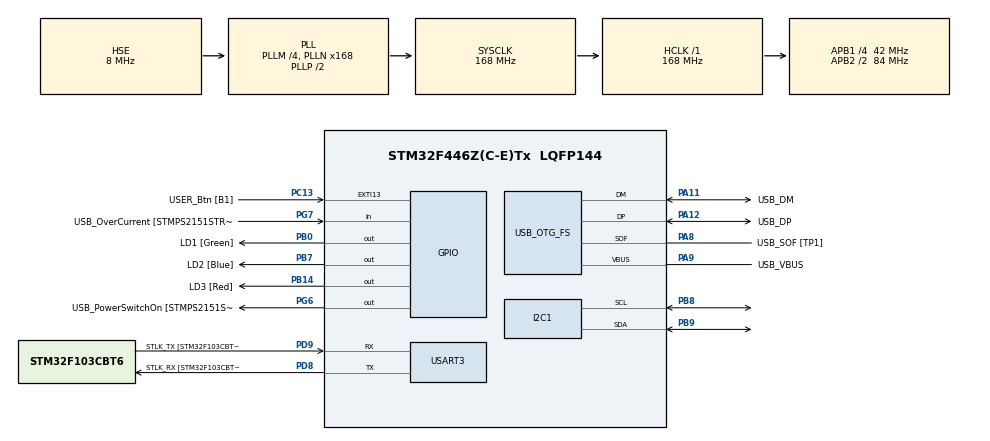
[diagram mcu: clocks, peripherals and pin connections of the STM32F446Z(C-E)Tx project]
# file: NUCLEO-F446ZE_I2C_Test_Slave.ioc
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I2C1.OwnAddress=0x54
Mcu.Family=STM32F4
Mcu.Name=STM32F446Z(C-E)Tx
Mcu.Package=LQFP144
NVIC.I2C1_ER_IRQn=true\:0\:0\:false\:false\:true\:true\:true\:true
NVIC.I2C1_EV_IRQn=true\:0\:0\:false\:false\:true\:true\:true\:true
NVIC.PriorityGroup=NVIC_PRIORITYGROUP_4
PA10.GPIO_Label=USB_ID
PA10.Signal=USB_OTG_FS_ID
PA11.GPIO_Label=USB_DM
PA11.Mode=Device_Only
PA11.Signal=USB_OTG_FS_DM
PA12.GPIO_Label=USB_DP
PA12.Mode=Device_Only
PA12.Signal=USB_OTG_FS_DP
PA13.GPIO_Label=TMS
PA13.Mode=Serial_Wire
PA13.Signal=SYS_JTMS-SWDIO
PA14.GPIO_Label=TCK
PA14.Mode=Serial_Wire
PA14.Signal=SYS_JTCK-SWCLK
PA8.GPIO_Label=USB_SOF [TP1]
PA8.Mode=Activate_SOF_FS
PA8.Signal=USB_OTG_FS_SOF
PA9.GPIO_Label=USB_VBUS
PA9.Mode=Activate_VBUS
PA9.Signal=USB_OTG_FS_VBUS
PB0.GPIO_Label=LD1 [Green]
PB0.Signal=GPIO_Output
PB14.GPIO_Label=LD3 [Red]
PB14.Signal=GPIO_Output
PB7.GPIO_Label=LD2 [Blue]
PB7.Signal=GPIO_Output
PB8.GPIO_Pu=GPIO_NOPULL
PB8.Mode=I2C
PB8.Signal=I2C1_SCL
PB9.GPIO_Pu=GPIO_NOPULL
PB9.Mode=I2C
PB9.Signal=I2C1_SDA
PC13.GPIO_Label=USER_Btn [B1]
PC13.Signal=GPXTI13
PC14-OSC32_IN.Mode=LSE-External-Oscillator
PC14-OSC32_IN.Signal=RCC_OSC32_IN
PC15-OSC32_OUT.Mode=LSE-External-Oscillator
PC15-OSC32_OUT.Signal=RCC_OSC32_OUT
PD8.GPIO_Label=STLK_RX [STM32F103CBT6_PA3]
PD8.Mode=Asynchronous
PD8.Signal=USART3_TX
PD9.GPIO_Label=STLK_TX [STM32F103CBT6_PA2]
PD9.Mode=Asynchronous
PD9.Signal=USART3_RX
PG6.GPIO_Label=USB_PowerSwitchOn [STMPS2151STR_EN]
PG6.Signal=GPIO_Output
PG7.GPIO_Label=USB_OverCurrent [STMPS2151STR_FAULT]
PG7.Signal=GPIO_Input
PH0-OSC_IN.GPIO_Label=MCO [STM32F103CBT6_PA8]
PH0-OSC_IN.Mode=HSE-External-Clock-Source
PH0-OSC_IN.Signal=RCC_OSC_IN
PH1-OSC_OUT.Mode=HSE-External-Clock-Source
PH1-OSC_OUT.Signal=RCC_OSC_OUT
ProjectManager.HeapSize=0x200
ProjectManager.StackSize=0x400
ProjectManager.TargetToolchain=STM32CubeIDE
RCC.48MHZClocksFreq_Value=24000000
RCC.AHBFreq_Value=168000000
RCC.APB1CLKDivider=RCC_HCLK_DIV4
RCC.APB1Freq_Value=42000000
RCC.APB1TimFreq_Value=84000000
RCC.APB2CLKDivider=RCC_HCLK_DIV2
RCC.APB2Freq_Value=84000000
RCC.APB2TimFreq_Value=168000000
RCC.CortexFreq_Value=168000000
RCC.HCLKFreq_Value=168000000
RCC.HSE_VALUE=8000000
RCC.HSI_VALUE=16000000
RCC.PLLM=4
RCC.PLLMUL=RCC_PLL_MUL9
RCC.PLLN=168
RCC.PLLQ=7
RCC.PRESCALERUSB=RCC_USBCLKSOURCE_PLL_DIV1_5
RCC.SYSCLKFreq_VALUE=168000000
RCC.SYSCLKSource=RCC_SYSCLKSOURCE_PLLCLK
RCC.SYSCLKSourceVirtual=RCC_SYSCLKSOURCE_PLLCLK
RCC.USBFreq_Value=48000000
RCC.VCOOutputFreq_Value=336000000
USART3.VirtualMode=VM_ASYNC
USB_OTG_FS.VirtualMode=Device_Only
board=NUCLEO-F446ZE

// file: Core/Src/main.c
/* USER CODE BEGIN Header */
/**
 ******************************************************************************
 * @file           : main.c
 * @brief          : Main program body
 ******************************************************************************
 * @attention
 *
 * Copyright (c) 2026 STMicroelectronics.
 * All rights reserved.
 *
 * This software is licensed under terms that can be found in the LICENSE file
 * in the root directory of this software component.
 * If no LICENSE file comes with this software, it is provided AS-IS.
 *
 ******************************************************************************
 */
/* USER CODE END Header */
#include "main.h"
#include "i2c.h"
#include "usart.h"
#include "usb_otg.h"
#include "gpio.h"

/* USER CODE BEGIN PV */
#define SLAVE_ADDR_7BIT  0x2A
uint8_t rxBuf[8];
uint8_t txBuf[8] = { 0xA5, 0x5A, 0x11, 0x22, 0, 0, 0, 0 };
volatile uint32_t addrHitCount = 0;
/* USER CODE END PV */

void SystemClock_Config(void);

int main(void) {

	/* MCU Configuration--------------------------------------------------------*/

	/* Reset of all peripherals, Initializes the Flash interface and the Systick. */
	HAL_Init();

	/* Configure the system clock */
	SystemClock_Config();

	/* Initialize all configured peripherals */
	MX_GPIO_Init();
	MX_I2C1_Init();
	MX_USART3_UART_Init();
	MX_USB_OTG_FS_PCD_Init();
	/* USER CODE BEGIN 2 */
	HAL_I2C_EnableListen_IT(&hi2c1);
	/* USER CODE END 2 */

	/* Infinite loop */
	while (1) {

	}
}

void SystemClock_Config(void) {
	RCC_OscInitTypeDef RCC_OscInitStruct = { 0 };
	RCC_ClkInitTypeDef RCC_ClkInitStruct = { 0 };

	/** Configure the main internal regulator output voltage
	 */
	__HAL_RCC_PWR_CLK_ENABLE();
	__HAL_PWR_VOLTAGESCALING_CONFIG(PWR_REGULATOR_VOLTAGE_SCALE1);

	/** Initializes the RCC Oscillators according to the specified parameters
	 * in the RCC_OscInitTypeDef structure.
	 */
	RCC_OscInitStruct.OscillatorType = RCC_OSCILLATORTYPE_HSE;
	RCC_OscInitStruct.HSEState = RCC_HSE_BYPASS;
	RCC_OscInitStruct.PLL.PLLState = RCC_PLL_ON;
	RCC_OscInitStruct.PLL.PLLSource = RCC_PLLSOURCE_HSE;
	RCC_OscInitStruct.PLL.PLLM = 4;
	RCC_OscInitStruct.PLL.PLLN = 168;
	RCC_OscInitStruct.PLL.PLLP = RCC_PLLP_DIV2;
	RCC_OscInitStruct.PLL.PLLQ = 7;
	RCC_OscInitStruct.PLL.PLLR = 2;
	if (HAL_RCC_OscConfig(&RCC_OscInitStruct) != HAL_OK) {
		Error_Handler();
	}

	/** Initializes the CPU, AHB and APB buses clocks
	 */
	RCC_ClkInitStruct.ClockType = RCC_CLOCKTYPE_HCLK | RCC_CLOCKTYPE_SYSCLK
			| RCC_CLOCKTYPE_PCLK1 | RCC_CLOCKTYPE_PCLK2;
	RCC_ClkInitStruct.SYSCLKSource = RCC_SYSCLKSOURCE_PLLCLK;
	RCC_ClkInitStruct.AHBCLKDivider = RCC_SYSCLK_DIV1;
	RCC_ClkInitStruct.APB1CLKDivider = RCC_HCLK_DIV4;
	RCC_ClkInitStruct.APB2CLKDivider = RCC_HCLK_DIV2;

	if (HAL_RCC_ClockConfig(&RCC_ClkInitStruct, FLASH_LATENCY_5) != HAL_OK) {
		Error_Handler();
	}
}

/* USER CODE BEGIN 4 */
void HAL_I2C_AddrCallback(I2C_HandleTypeDef *hi2c, uint8_t TransferDirection,
		uint16_t AddrMatchCode) {
	if (hi2c->Instance != I2C1)
		return;

	addrHitCount++;
	HAL_GPIO_TogglePin(LD2_GPIO_Port, LD2_Pin); /* widoczny dowód trafienia */

	if (TransferDirection == I2C_DIRECTION_TRANSMIT) {
		/* master chce PISAĆ do nas */
		HAL_I2C_Slave_Seq_Receive_IT(hi2c, rxBuf, 1, I2C_FIRST_AND_LAST_FRAME);
	} else {
		/* master chce CZYTAĆ z nas */
		HAL_I2C_Slave_Seq_Transmit_IT(hi2c, txBuf, 1, I2C_FIRST_AND_LAST_FRAME);
	}
}

void HAL_I2C_ListenCpltCallback(I2C_HandleTypeDef *hi2c) {
	HAL_I2C_EnableListen_IT(hi2c); /* KLUCZOWE — bez tego nasłuch działa raz */
}

void HAL_I2C_ErrorCallback(I2C_HandleTypeDef *hi2c) {
	/* HAL_I2C_ERROR_AF jest tu NORMALNE: master kończy transfer NACK-iem,
	 a skaner adresów w ogóle nie wysyła danych */
	HAL_I2C_EnableListen_IT(hi2c);
}
/* USER CODE END 4 */

void Error_Handler(void) {
	__disable_irq();
	while (1) {
	}
}
